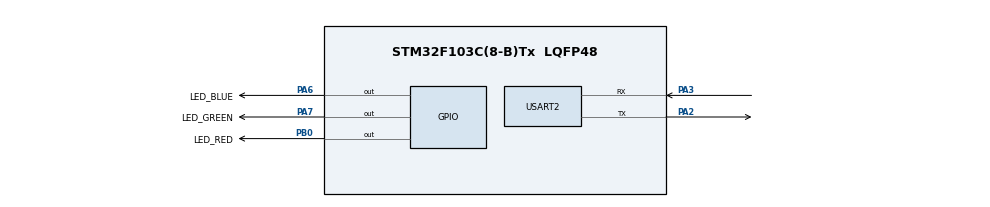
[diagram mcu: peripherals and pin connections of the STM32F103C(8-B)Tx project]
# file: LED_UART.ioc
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Mcu.Family=STM32F1
Mcu.Name=STM32F103C(8-B)Tx
Mcu.Package=LQFP48
NVIC.PriorityGroup=NVIC_PRIORITYGROUP_4
PA13.Mode=Serial_Wire
PA13.Signal=SYS_JTMS-SWDIO
PA14.Mode=Serial_Wire
PA14.Signal=SYS_JTCK-SWCLK
PA2.Mode=Asynchronous
PA2.Signal=USART2_TX
PA3.Mode=Asynchronous
PA3.Signal=USART2_RX
PA6.GPIO_Label=LED_BLUE
PA6.Signal=GPIO_Output
PA7.GPIO_Label=LED_GREEN
PA7.Signal=GPIO_Output
PB0.GPIO_Label=LED_RED
PB0.Signal=GPIO_Output
ProjectManager.HeapSize=0x200
ProjectManager.StackSize=0x400
ProjectManager.TargetToolchain=STM32CubeIDE
RCC.APB1Freq_Value=8000000
RCC.APB2Freq_Value=8000000
USART2.VirtualMode=VM_ASYNC
board=custom

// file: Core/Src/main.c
/* USER CODE BEGIN Header */
/**
  ******************************************************************************
  * @file           : main.c
  * @brief          : Main program body
  ******************************************************************************
  * @attention
  *
  * Copyright (c) 2025 STMicroelectronics.
  * All rights reserved.
  *
  * This software is licensed under terms that can be found in the LICENSE file
  * in the root directory of this software component.
  * If no LICENSE file comes with this software, it is provided AS-IS.
  *
  ******************************************************************************
  */
/* USER CODE END Header */
#include "main.h"

/* USER CODE BEGIN Includes */
#include<string.h>
/* USER CODE END Includes */

UART_HandleTypeDef huart2;

void SystemClock_Config(void);
static void MX_GPIO_Init(void);
static void MX_USART2_UART_Init(void);

int main(void)
{

  /* MCU Configuration--------------------------------------------------------*/

  /* Reset of all peripherals, Initializes the Flash interface and the Systick. */
  HAL_Init();

  /* Configure the system clock */
  SystemClock_Config();

  /* Initialize all configured peripherals */
  MX_GPIO_Init();
  MX_USART2_UART_Init();
  /* USER CODE BEGIN 2 */
  //char message[]="hello world";
  uint8_t receiveData[1];
  /* USER CODE END 2 */

  /* Infinite loop */
  /* USER CODE BEGIN WHILE */
  while (1)
  {
	  ///向PC发送信息
	  //HAL_UART_Transmit(&huart2, (uint8_t*)message, strlen(message), 100);
	  //HAL_Delay(1000);

	  //接收来自PC的数据
	  //HAL_UART_Receive(&huart2, receiveData, 10, HAL_MAX_DELAY);
	  //HAL_Delay(1000);
	  //HAL_UART_Transmit(&huart2, receiveData, 10, 100);

	  //根据PC串口的数据控制小灯
	  HAL_UART_Receive(&huart2, receiveData, 1, HAL_MAX_DELAY);
	  switch (receiveData[0]) {
		case 'R':
			HAL_GPIO_TogglePin(LED_RED_GPIO_Port, LED_RED_Pin);
			break;
		case 'G':
			HAL_GPIO_TogglePin(LED_GREEN_GPIO_Port, LED_GREEN_Pin);
			break;
		case 'B':
			HAL_GPIO_TogglePin(LED_BLUE_GPIO_Port, LED_BLUE_Pin);
			break;
		default:
			break;
	}
    /* USER CODE END WHILE */

  }
}

void SystemClock_Config(void)
{
  RCC_OscInitTypeDef RCC_OscInitStruct = {0};
  RCC_ClkInitTypeDef RCC_ClkInitStruct = {0};

  /** Initializes the RCC Oscillators according to the specified parameters
  * in the RCC_OscInitTypeDef structure.
  */
  RCC_OscInitStruct.OscillatorType = RCC_OSCILLATORTYPE_HSI;
  RCC_OscInitStruct.HSIState = RCC_HSI_ON;
  RCC_OscInitStruct.HSICalibrationValue = RCC_HSICALIBRATION_DEFAULT;
  RCC_OscInitStruct.PLL.PLLState = RCC_PLL_NONE;
  if (HAL_RCC_OscConfig(&RCC_OscInitStruct) != HAL_OK)
  {
    Error_Handler();
  }

  /** Initializes the CPU, AHB and APB buses clocks
  */
  RCC_ClkInitStruct.ClockType = RCC_CLOCKTYPE_HCLK|RCC_CLOCKTYPE_SYSCLK
                              |RCC_CLOCKTYPE_PCLK1|RCC_CLOCKTYPE_PCLK2;
  RCC_ClkInitStruct.SYSCLKSource = RCC_SYSCLKSOURCE_HSI;
  RCC_ClkInitStruct.AHBCLKDivider = RCC_SYSCLK_DIV1;
  RCC_ClkInitStruct.APB1CLKDivider = RCC_HCLK_DIV1;
  RCC_ClkInitStruct.APB2CLKDivider = RCC_HCLK_DIV1;

  if (HAL_RCC_ClockConfig(&RCC_ClkInitStruct, FLASH_LATENCY_0) != HAL_OK)
  {
    Error_Handler();
  }
}

static void MX_USART2_UART_Init(void)
{

  huart2.Instance = USART2;
  huart2.Init.BaudRate = 115200;
  huart2.Init.WordLength = UART_WORDLENGTH_8B;
  huart2.Init.StopBits = UART_STOPBITS_1;
  huart2.Init.Parity = UART_PARITY_NONE;
  huart2.Init.Mode = UART_MODE_TX_RX;
  huart2.Init.HwFlowCtl = UART_HWCONTROL_NONE;
  huart2.Init.OverSampling = UART_OVERSAMPLING_16;
  if (HAL_UART_Init(&huart2) != HAL_OK)
  {
    Error_Handler();
  }

}

static void MX_GPIO_Init(void)
{
  GPIO_InitTypeDef GPIO_InitStruct = {0};

  /* GPIO Ports Clock Enable */
  __HAL_RCC_GPIOA_CLK_ENABLE();
  __HAL_RCC_GPIOB_CLK_ENABLE();

  /*Configure GPIO pin Output Level */
  HAL_GPIO_WritePin(GPIOA, LED_BLUE_Pin|LED_GREEN_Pin, GPIO_PIN_RESET);

  /*Configure GPIO pin Output Level */
  HAL_GPIO_WritePin(LED_RED_GPIO_Port, LED_RED_Pin, GPIO_PIN_RESET);

  /*Configure GPIO pins : LED_BLUE_Pin LED_GREEN_Pin */
  GPIO_InitStruct.Pin = LED_BLUE_Pin|LED_GREEN_Pin;
  GPIO_InitStruct.Mode = GPIO_MODE_OUTPUT_PP;
  GPIO_InitStruct.Pull = GPIO_NOPULL;
  GPIO_InitStruct.Speed = GPIO_SPEED_FREQ_LOW;
  HAL_GPIO_Init(GPIOA, &GPIO_InitStruct);

  /*Configure GPIO pin : LED_RED_Pin */
  GPIO_InitStruct.Pin = LED_RED_Pin;
  GPIO_InitStruct.Mode = GPIO_MODE_OUTPUT_PP;
  GPIO_InitStruct.Pull = GPIO_NOPULL;
  GPIO_InitStruct.Speed = GPIO_SPEED_FREQ_LOW;
  HAL_GPIO_Init(LED_RED_GPIO_Port, &GPIO_InitStruct);

}

void Error_Handler(void)
{
  __disable_irq();
  while (1)
  {
  }
}
